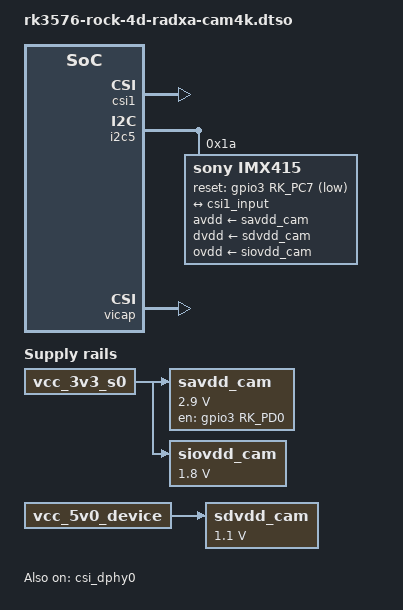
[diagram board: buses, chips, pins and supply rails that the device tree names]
// SPDX-License-Identifier: (GPL-2.0+ OR MIT)
/*
 * Device tree overlay for the Radxa Camera 4K attached to the camera
 * connector of the Radxa ROCK 4D.
 */

/dts-v1/;
/plugin/;

#include <dt-bindings/clock/rockchip,rk3576-cru.h>
#include <dt-bindings/gpio/gpio.h>
#include <dt-bindings/media/video-interfaces.h>
#include <dt-bindings/pinctrl/rockchip.h>

&{/} {
	savdd_cam: regulator-savdd-cam {
		compatible = "regulator-fixed";
		enable-active-high;
		gpio = <&gpio3 RK_PD0 GPIO_ACTIVE_HIGH>;
		regulator-min-microvolt = <2900000>;
		regulator-max-microvolt = <2900000>;
		regulator-name = "savdd_cam";
		vin-supply = <&vcc_3v3_s0>;
	};

	sdvdd_cam: regulator-sdvdd-cam {
		compatible = "regulator-fixed";
		regulator-min-microvolt = <1100000>;
		regulator-max-microvolt = <1100000>;
		regulator-name = "sdvdd_cam";
		vin-supply = <&vcc_5v0_device>;
	};

	siovdd_cam: regulator-siovdd-cam {
		compatible = "regulator-fixed";
		regulator-min-microvolt = <1800000>;
		regulator-max-microvolt = <1800000>;
		regulator-name = "siovdd_cam";
		vin-supply = <&vcc_3v3_s0>;
	};
};

&csi1 {
	status = "okay";
};

&csi1_in {
	csi1_input: endpoint {
		bus-type = <MEDIA_BUS_TYPE_CSI2_DPHY>;
		data-lanes = <1 2 3 4>;
		link-frequencies = /bits/ 64 <445500000>;
		remote-endpoint = <&imx415_output>;
	};
};

&csi_dphy0 {
	status = "okay";
};

&i2c5 {
	pinctrl-names = "default";
	pinctrl-0 = <&i2c5m3_xfer>;
	#address-cells = <1>;
	#size-cells = <0>;
	status = "okay";

	imx415: camera-sensor@1a {
		compatible = "sony,imx415";
		reg = <0x1a>;
		assigned-clocks = <&cru CLK_MIPI_CAMERAOUT_M1>;
		assigned-clock-rates = <37125000>;
		avdd-supply = <&savdd_cam>;
		clocks = <&cru CLK_MIPI_CAMERAOUT_M1>;
		dvdd-supply = <&sdvdd_cam>;
		orientation = <2>; /* External */
		ovdd-supply = <&siovdd_cam>;
		pinctrl-names = "default";
		pinctrl-0 = <&cam_rstn &cam_clk1m0_clk1>;
		reset-gpios = <&gpio3 RK_PC7 GPIO_ACTIVE_LOW>;

		port {
			imx415_output: endpoint {
				data-lanes = <1 2 3 4>;
				link-frequencies = /bits/ 64 <445500000>;
				remote-endpoint = <&csi1_input>;
			};
		};
	};
};

&pinctrl {
	cam {
		cam_rstn: cam-rstn-pinctrl {
			rockchip,pins = <3 RK_PC7 RK_FUNC_GPIO &pcfg_pull_none>;
		};
	};
};

&vicap {
	status = "okay";
};

&vicap_mmu {
	status = "okay";
};
